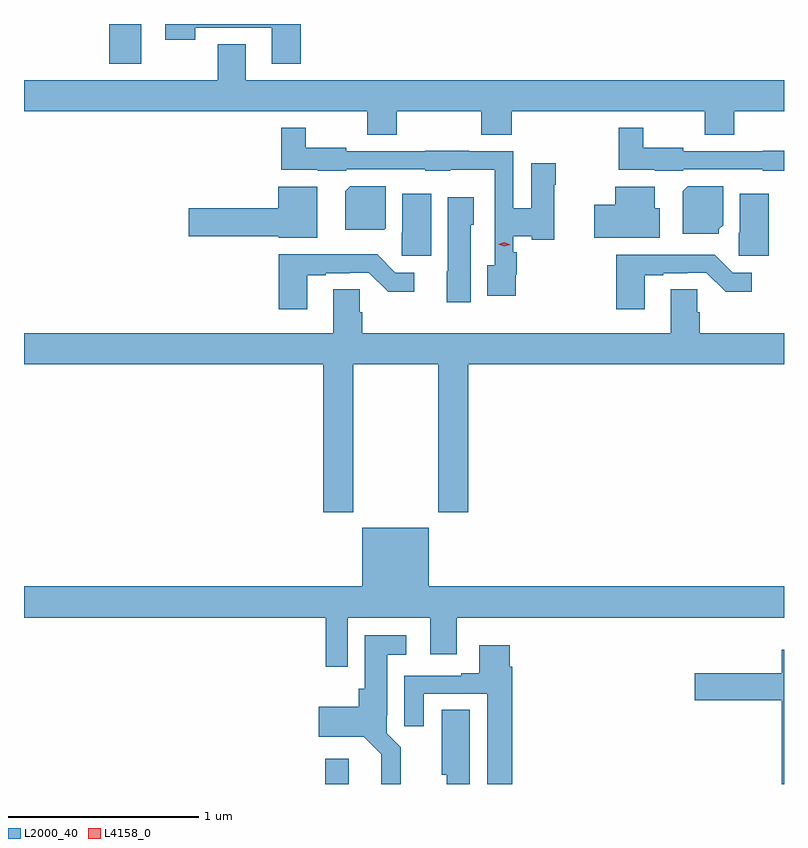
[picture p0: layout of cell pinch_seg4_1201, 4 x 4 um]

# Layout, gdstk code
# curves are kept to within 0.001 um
import gdstk
lib = gdstk.Library(unit=1e-6, precision=1e-09)
def R(c, l, rs):  # rectangles x0, y0, x1, y1
    for r in rs: c.add(gdstk.rectangle(r[:2], r[2:], *l))
def P(c, l, *ps):  # polygons
    for p in ps: c.add(gdstk.Polygon(p, *l))
L2000_40 = (2000, 40)
L4158_0 = (4158, 0)

pinch_seg4_1201 = lib.new_cell('pinch_seg4_1201')
R(pinch_seg4_1201, L2000_40, [(318.347,813.26,318.469,813.394), (317.21,817.05,317.377,817.26)])
P(pinch_seg4_1201, L2000_40, [(318.218,817.26),(317.505,817.26),(317.505,817.176),(317.661,817.176),(317.661,817.239),(318.065,817.239),(318.065,817.05),(318.218,817.05)],
  [(318.723,816.8),(319.168,816.8),(319.168,816.676),(319.328,816.676),(319.328,816.8),(320.344,816.8),(320.344,816.676),(320.499,816.676),(320.499,816.8),(320.761,816.8),(320.761,816.964),(317.929,816.964),(317.929,817.154),(317.782,817.154),(317.782,816.964),(316.761,816.964),(316.761,816.8),(318.568,816.8),(318.568,816.676),(318.723,816.676)],
  [(319.348,815.941),(319.355,815.941),(319.355,816.059),(319.335,816.059),(319.335,816.143),(319.434,816.143),(319.434,816.125),(319.552,816.125),(319.552,816.413),(319.56,816.413),(319.56,816.526),(319.43,816.526),(319.43,816.29),(319.335,816.29),(319.335,816.591),(319.105,816.591),(319.105,816.593),(318.873,816.593),(318.873,816.591),(318.456,816.591),(318.456,816.61),(318.244,816.61),(318.244,816.715),(318.115,816.715),(318.115,816.494),(318.306,816.494),(318.306,816.488),(318.456,816.488),(318.456,816.495),(318.873,816.495),(318.873,816.488),(319.005,816.488),(319.005,816.494),(319.239,816.494),(319.239,815.99),(319.199,815.99),(319.199,815.829),(319.348,815.829)],
  [(320.232,816.495),(320.649,816.495),(320.649,816.488),(320.761,816.488),(320.761,816.593),(320.649,816.593),(320.649,816.591),(320.232,816.591),(320.232,816.61),(320.02,816.61),(320.02,816.715),(319.891,816.715),(319.891,816.494),(320.082,816.494),(320.082,816.488),(320.232,816.488)],
  [(318.664,816.184),(318.664,816.406),(318.478,816.406),(318.452,816.38),(318.452,816.176),(318.656,816.176)],
  [(320.418,816.18),(320.44,816.202),(320.44,816.406),(320.254,816.406),(320.228,816.38),(320.228,816.155),(320.418,816.155)],
  [(320.107,816.291),(320.08,816.291),(320.08,816.404),(319.874,816.404),(319.874,816.308),(319.763,816.308),(319.763,816.134),(320.107,816.134)],
  [(318.304,816.404),(318.098,816.404),(318.098,816.29),(317.628,816.29),(317.628,816.143),(318.102,816.143),(318.102,816.134),(318.304,816.134)],
  [(320.68,816.367),(320.528,816.367),(320.528,816.162),(320.524,816.162),(320.524,816.039),(320.68,816.039)],
  [(318.904,816.367),(318.752,816.367),(318.752,816.162),(318.748,816.162),(318.748,816.039),(318.904,816.039)],
  [(319.111,816.204),(319.129,816.204),(319.129,816.349),(318.992,816.349),(318.992,815.958),(318.986,815.958),(318.986,815.796),(319.111,815.796)],
  [(318.253,815.937),(318.349,815.937),(318.349,815.949),(318.476,815.949),(318.476,815.952),(318.576,815.952),(318.679,815.85),(318.814,815.85),(318.814,815.952),(318.714,815.952),(318.619,816.047),(318.101,816.047),(318.101,815.76),(318.253,815.76)],
  [(320.029,815.937),(320.125,815.937),(320.125,815.949),(320.252,815.949),(320.252,815.952),(320.352,815.952),(320.455,815.85),(320.59,815.85),(320.59,815.952),(320.49,815.952),(320.396,816.046),(319.877,816.045),(319.877,815.76),(320.029,815.76)],
  [(318.495,815.468),(318.94,815.468),(318.94,814.689),(319.1,814.689),(319.1,815.468),(320.761,815.468),(320.761,815.632),(320.318,815.632),(320.318,815.742),(320.304,815.742),(320.304,815.864),(320.165,815.864),(320.165,815.632),(318.542,815.632),(318.542,815.742),(318.528,815.742),(318.528,815.864),(318.389,815.864),(318.389,815.632),(316.761,815.632),(316.761,815.468),(318.335,815.468),(318.335,814.689),(318.495,814.689)],
  [(318.465,814.136),(318.899,814.136),(318.899,813.942),(319.039,813.942),(319.039,814.136),(320.761,814.136),(320.761,814.3),(318.892,814.3),(318.892,814.609),(318.542,814.609),(318.542,814.3),(316.761,814.3),(316.761,814.136),(318.349,814.136),(318.349,813.876),(318.465,813.876)],
  [(318.743,813.454),(318.669,813.528),(318.669,813.622),(318.673,813.622),(318.673,813.941),(318.772,813.941),(318.772,814.042),(318.554,814.042),(318.554,813.762),(318.524,813.762),(318.524,813.667),(318.312,813.667),(318.312,813.509),(318.549,813.509),(318.642,813.416),(318.641,813.26),(318.743,813.26)],
  [(319.331,813.878),(319.318,813.878),(319.318,813.991),(319.157,813.991),(319.157,813.844),(319.061,813.844),(319.061,813.831),(318.761,813.831),(318.761,813.564),(318.865,813.564),(318.865,813.735),(319.199,813.735),(319.199,813.26),(319.331,813.26)],
  [(320.761,813.967),(320.75,813.967),(320.75,813.843),(320.292,813.843),(320.292,813.701),(320.75,813.701),(320.75,813.26),(320.761,813.26)],
  [(319.108,813.65),(318.959,813.65),(318.959,813.309),(318.986,813.309),(318.986,813.26),(319.108,813.26)])
P(pinch_seg4_1201, L4158_0, [(319.288,816.091),(319.257,816.102),(319.257,816.102),(319.257,816.102),(319.289,816.111),(319.32,816.099),(319.32,816.099),(319.32,816.099)])

lib.write_gds('pinch_seg4_1201.gds')
